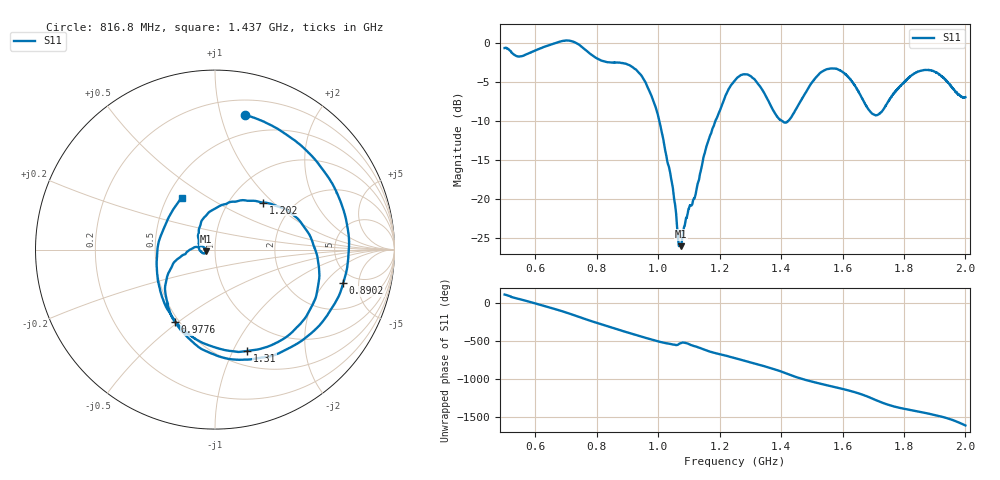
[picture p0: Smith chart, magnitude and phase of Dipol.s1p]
# HZ S RI R 50
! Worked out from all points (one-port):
!   7070 points, 500 MHz to 2 GHz, reference 50 ohm
!   lowest |S11| = -26.1 dB at 1.074 GHz (marker M1), VSWR 1.10, Z = 45.3 - j0.94 ohm
!   |S11| at or under -10 dB: 1.004 GHz to 1.186 GHz (182.3 MHz wide, 16.7 % of centre); 1.404 GHz to 1.423 GHz (19.64 MHz wide, 1.39 % of centre)
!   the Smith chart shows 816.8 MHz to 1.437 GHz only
!   S11 on the Smith chart (normalised r, x): 816.8 MHz: 0.32, +1.19; 890.2 MHz: 3.89, -3.21; 977.6 MHz: 0.48, -0.49; 1.202 GHz: 1.42, +0.87; 1.31 GHz: 0.65, -1.13; 1.437 GHz: 0.59, +0.39
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5e8  -0.377 0.847
6.010043e8  0.8931 -0.0736
6.506577e8  0.4546 -0.8644
6.875795e8  -0.2983 -0.9846
7.423255e8  -0.9746 0.0264
7.792473e8  -0.513 0.6782
8.168056e8  0.1658 0.7506
8.75159e8  0.7469 0.0479
8.902248e8  0.714 -0.1876
9.337245e8  0.2506 -0.6029
9.776487e8  -0.2229 -0.4031
1.062526e9  -0.0598 0.012
1.07356e9  -0.0487 -0.0103
1.202362e9  0.267 0.2623
1.250106e9  0.5741 -0.0613
1.309944e9  0.1774 -0.5651
1.367449e9  -0.297 -0.2569
1.436624e9  -0.184 0.2897
1.437685e9  -0.1771 0.2972
1.49137e9  0.3103 0.4233
1.543782e9  0.6721 0.0115
1.625053e9  0.1141 -0.5751
1.699957e9  -0.3477 0.0335
1.756613e9  0.0146 0.4446
1.812632e9  0.4834 0.3423
1.872895e9  0.6542 -0.1505
1.930188e9  0.2275 -0.5493
1.999999e9  -0.4477 -0.0376
